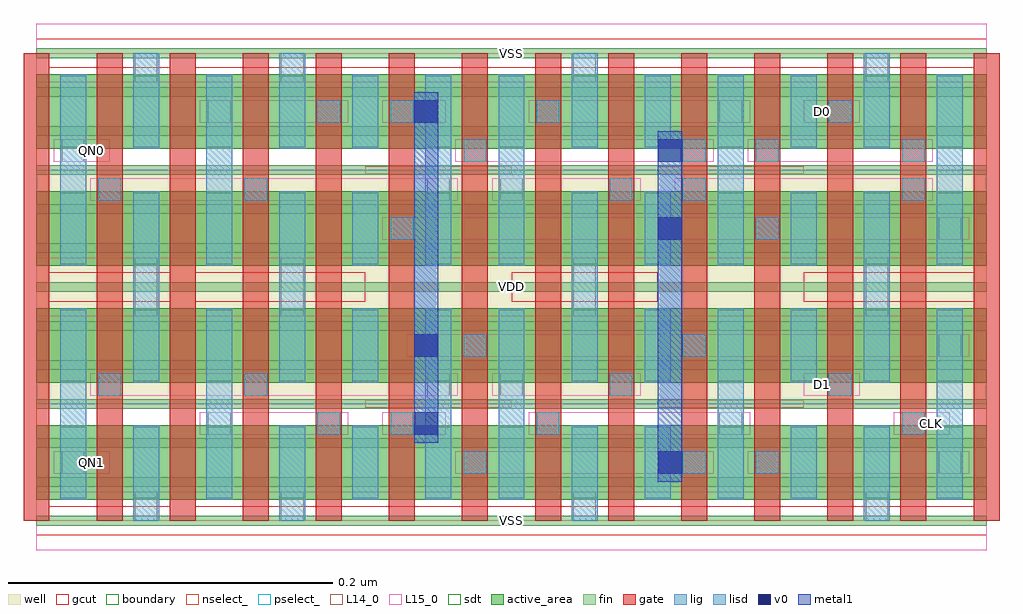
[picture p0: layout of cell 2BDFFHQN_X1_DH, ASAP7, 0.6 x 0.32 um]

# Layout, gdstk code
import gdstk
lib = gdstk.Library(unit=1e-6, precision=2.5e-10)
def R(c, l, rs):  # rectangles x0, y0, x1, y1
    for r in rs: c.add(gdstk.rectangle(r[:2], r[2:], *l))
def A(c, l, x, y, w, h, nx, ny, dx, dy):  # array of equal rectangles
    R(c, l, [(x+i*dx, y+j*dy, x+i*dx+w, y+j*dy+h) for i in range(nx) for j in range(ny)])
def P(c, l, *ps):  # polygons
    for p in ps: c.add(gdstk.Polygon(p, *l))
well = (1, 0)
fin = (2, 0)
gate = (7, 0)
gcut = (10, 0)
active_area = (11, 0)
nselect_ = (12, 0)
pselect_ = (13, 0)
L14_0 = (14, 0)
L15_0 = (15, 0)
lig = (16, 0)
lisd = (17, 0)
v0 = (18, 0)
metal1 = (19, 0)
sdt = (88, 0)
boundary = (100, 0)

c_2bdffhqn_x1_dh = lib.new_cell('2BDFFHQN_X1_DH')
R(c_2bdffhqn_x1_dh, well, [(0,0.072,0.585,0.144), (0,0.144,0.585,0.216)])
A(c_2bdffhqn_x1_dh, fin, 0, -0.003, 0.585, 0.006, 1, 13, 0, 0.024)
A(c_2bdffhqn_x1_dh, gate, -0.008, 0, 0.016, 0.288, 14, 1, 0.045, 0)
R(c_2bdffhqn_x1_dh, gcut, [(0.2025,0.0695,0.2925,0.0745), (0.3825,0.0695,0.4725,0.0745), (0.2925,0.135,0.3825,0.153), (0.2025,0.2135,0.2925,0.2185), (0.3825,0.2135,0.4725,0.2185)])
P(c_2bdffhqn_x1_dh, gcut, [(0.593,0.288),(0.585,0.288),(0.585,0.297),(0.577,0.297),(0.577,0.153),(0.4725,0.153),(0.4725,0.135),(0.577,0.135),(0.577,0.009),(0.098,0.009),(0.098,0.135),(0.2025,0.135),(0.2025,0.153),(0.098,0.153),(0.098,0.279),(0.577,0.279),(0.577,0.297),(0.082,0.297),(0.082,0.009),(0.008,0.009),(0.008,0.135),(0.082,0.135),(0.082,0.153),(0.008,0.153),(0.008,0.279),(0.082,0.279),(0.082,0.297),(0,0.297),(0,0.288),(-0.008,0.288),(-0.008,0),(0,0),(0,-0.009),(0.585,-0.009),(0.585,0),(0.593,0)])
A(c_2bdffhqn_x1_dh, active_area, 0, 0.013, 0.585, 0.046, 1, 4, 0, 0.072)
R(c_2bdffhqn_x1_dh, nselect_, [(0,0,0.585,0.072), (0,0.216,0.585,0.288)])
R(c_2bdffhqn_x1_dh, pselect_, [(0,0.072,0.585,0.144), (0,0.144,0.585,0.216)])
A(c_2bdffhqn_x1_dh, L14_0, 0.1505, 0, 0.014, 0.018, 3, 2, 0.18, 0.126)
A(c_2bdffhqn_x1_dh, L14_0, 0.5555, 0.029, 0.014, 0.014, 1, 3, 0, 0.072)
A(c_2bdffhqn_x1_dh, L14_0, 0.308, 0.053, 0.014, 0.014, 3, 1, 0.1125, 0)
A(c_2bdffhqn_x1_dh, L14_0, 0.1505, 0.144, 0.014, 0.018, 3, 2, 0.18, 0.126)
R(c_2bdffhqn_x1_dh, L14_0, [(0.0605,0,0.0745,0.018), (0.0155,0.029,0.0295,0.043), (0.263,0.029,0.277,0.043), (0.398,0.029,0.412,0.043), (0.443,0.029,0.457,0.043), (0.1055,0.053,0.1195,0.067), (0.173,0.053,0.187,0.067), (0.218,0.053,0.232,0.067), (0.038,0.077,0.052,0.091), (0.128,0.077,0.142,0.091), (0.2405,0.077,0.2545,0.091), (0.2855,0.077,0.2995,0.091), (0.353,0.077,0.367,0.091), (0.488,0.077,0.502,0.091), (0.263,0.101,0.277,0.115), (0.398,0.101,0.412,0.115), (0.0605,0.126,0.0745,0.144), (0.0605,0.144,0.0745,0.162), (0.218,0.173,0.232,0.187), (0.443,0.173,0.457,0.187), (0.038,0.197,0.052,0.211), (0.128,0.197,0.142,0.211), (0.2405,0.197,0.2545,0.211), (0.2855,0.197,0.2995,0.211), (0.353,0.197,0.367,0.211), (0.398,0.197,0.412,0.211), (0.533,0.197,0.547,0.211), (0.0155,0.221,0.0295,0.235), (0.263,0.221,0.277,0.235), (0.398,0.221,0.412,0.235), (0.443,0.221,0.457,0.235), (0.533,0.221,0.547,0.235), (0.1055,0.245,0.1195,0.259), (0.173,0.245,0.187,0.259), (0.218,0.245,0.232,0.259), (0.308,0.245,0.322,0.259), (0.4205,0.245,0.4345,0.259), (0.488,0.245,0.502,0.259), (0.0605,0.27,0.0745,0.288)])
A(c_2bdffhqn_x1_dh, L15_0, 0, -0.018, 0.585, 0.036, 1, 3, 0, 0.144)
R(c_2bdffhqn_x1_dh, L15_0, [(0.0105,0.029,0.045,0.043), (0.258,0.029,0.417,0.043), (0.438,0.029,0.5745,0.043), (0.1005,0.053,0.192,0.067), (0.213,0.053,0.252,0.067), (0.303,0.053,0.4395,0.067), (0.528,0.053,0.5625,0.067), (0.033,0.077,0.2595,0.091), (0.2805,0.077,0.372,0.091), (0.4725,0.077,0.507,0.091), (0.228,0.101,0.5745,0.115), (0.213,0.173,0.5745,0.187), (0.033,0.197,0.2595,0.211), (0.2805,0.197,0.372,0.211), (0.393,0.197,0.552,0.211), (0.0105,0.221,0.045,0.235), (0.258,0.221,0.417,0.235), (0.438,0.221,0.552,0.235), (0.1005,0.245,0.192,0.259), (0.213,0.245,0.252,0.259), (0.303,0.245,0.4395,0.259), (0.4725,0.245,0.507,0.259)])
R(c_2bdffhqn_x1_dh, lig, [(0.263,0.029,0.277,0.043), (0.398,0.029,0.412,0.043), (0.443,0.029,0.457,0.043), (0.173,0.053,0.187,0.067), (0.218,0.053,0.232,0.067), (0.308,0.053,0.322,0.067), (0.533,0.053,0.547,0.067), (0.038,0.077,0.052,0.091), (0.128,0.077,0.142,0.091), (0.353,0.077,0.367,0.091), (0.488,0.077,0.502,0.091), (0.263,0.101,0.277,0.115), (0.398,0.101,0.412,0.115), (0.218,0.173,0.232,0.187), (0.443,0.173,0.457,0.187), (0.038,0.197,0.052,0.211), (0.128,0.197,0.142,0.211), (0.353,0.197,0.367,0.211), (0.398,0.197,0.412,0.211), (0.533,0.197,0.547,0.211), (0.263,0.221,0.277,0.235), (0.398,0.221,0.412,0.235), (0.443,0.221,0.457,0.235), (0.533,0.221,0.547,0.235), (0.173,0.245,0.187,0.259), (0.218,0.245,0.232,0.259), (0.308,0.245,0.322,0.259), (0.488,0.245,0.502,0.259)])
A(c_2bdffhqn_x1_dh, lisd, 0.1495, 0, 0.016, 0.059, 3, 2, 0.18, 0.229)
A(c_2bdffhqn_x1_dh, lisd, 0.1945, 0.013, 0.016, 0.046, 1, 4, 0, 0.072)
A(c_2bdffhqn_x1_dh, lisd, 0.2845, 0.013, 0.016, 0.118, 3, 2, 0.135, 0.144)
A(c_2bdffhqn_x1_dh, lisd, 0.3745, 0.013, 0.016, 0.046, 1, 4, 0, 0.072)
A(c_2bdffhqn_x1_dh, lisd, 0.4645, 0.013, 0.016, 0.046, 1, 4, 0, 0.072)
A(c_2bdffhqn_x1_dh, lisd, 0.1495, 0.085, 0.016, 0.118, 3, 1, 0.18, 0)
R(c_2bdffhqn_x1_dh, lisd, [(0.0595,0,0.0755,0.059), (0.0145,0.013,0.0305,0.131), (0.1045,0.013,0.1205,0.131), (0.2395,0.013,0.2555,0.131), (0.0595,0.085,0.0755,0.203), (0.0145,0.157,0.0305,0.275), (0.1045,0.157,0.1205,0.275), (0.2395,0.157,0.2555,0.275), (0.0595,0.229,0.0755,0.288)])
R(c_2bdffhqn_x1_dh, v0, [(0.383,0.029,0.397,0.043), (0.233,0.053,0.247,0.067), (0.233,0.101,0.247,0.115), (0.383,0.173,0.397,0.187), (0.383,0.221,0.397,0.235), (0.233,0.245,0.247,0.259)])
R(c_2bdffhqn_x1_dh, metal1, [(0.3825,0.024,0.3975,0.24), (0.2325,0.048,0.2475,0.264)])
A(c_2bdffhqn_x1_dh, sdt, 0.0145, 0.014, 0.016, 0.044, 13, 4, 0.045, 0.072)
R(c_2bdffhqn_x1_dh, boundary, [(0,0,0.585,0.288)])
c_2bdffhqn_x1_dh.add(gdstk.Label('VSS', (0.2925,0.288), layer=15, texttype=251))
c_2bdffhqn_x1_dh.add(gdstk.Label('VDD', (0.2925,0.144), layer=15, texttype=251))
c_2bdffhqn_x1_dh.add(gdstk.Label('VDD', (0.2925,0.144), layer=15, texttype=251))
c_2bdffhqn_x1_dh.add(gdstk.Label('VSS', (0.2925,0), layer=15, texttype=251))
c_2bdffhqn_x1_dh.add(gdstk.Label('QN1', (0.0338,0.036), layer=15, texttype=251))
c_2bdffhqn_x1_dh.add(gdstk.Label('VSS', (0.2925,0.288), layer=15, texttype=251))
c_2bdffhqn_x1_dh.add(gdstk.Label('VDD', (0.2925,0.144), layer=15, texttype=251))
c_2bdffhqn_x1_dh.add(gdstk.Label('VDD', (0.2925,0.144), layer=15, texttype=251))
c_2bdffhqn_x1_dh.add(gdstk.Label('VSS', (0.2925,0), layer=15, texttype=251))
c_2bdffhqn_x1_dh.add(gdstk.Label('QN0', (0.0338,0.228), layer=15, texttype=251))
c_2bdffhqn_x1_dh.add(gdstk.Label('VSS', (0.2925,0.288), layer=15, texttype=251))
c_2bdffhqn_x1_dh.add(gdstk.Label('VDD', (0.2925,0.144), layer=15, texttype=251))
c_2bdffhqn_x1_dh.add(gdstk.Label('VDD', (0.2925,0.144), layer=15, texttype=251))
c_2bdffhqn_x1_dh.add(gdstk.Label('VSS', (0.2925,0), layer=15, texttype=251))
c_2bdffhqn_x1_dh.add(gdstk.Label('CLK', (0.5513,0.06), layer=15, texttype=251))
c_2bdffhqn_x1_dh.add(gdstk.Label('VSS', (0.2925,0.288), layer=15, texttype=251))
c_2bdffhqn_x1_dh.add(gdstk.Label('VDD', (0.2925,0.144), layer=15, texttype=251))
c_2bdffhqn_x1_dh.add(gdstk.Label('VDD', (0.2925,0.144), layer=15, texttype=251))
c_2bdffhqn_x1_dh.add(gdstk.Label('VSS', (0.2925,0), layer=15, texttype=251))
c_2bdffhqn_x1_dh.add(gdstk.Label('D1', (0.4838,0.084), layer=15, texttype=251))
c_2bdffhqn_x1_dh.add(gdstk.Label('VSS', (0.2925,0.288), layer=15, texttype=251))
c_2bdffhqn_x1_dh.add(gdstk.Label('VDD', (0.2925,0.144), layer=15, texttype=251))
c_2bdffhqn_x1_dh.add(gdstk.Label('VDD', (0.2925,0.144), layer=15, texttype=251))
c_2bdffhqn_x1_dh.add(gdstk.Label('VSS', (0.2925,0), layer=15, texttype=251))
c_2bdffhqn_x1_dh.add(gdstk.Label('D0', (0.4838,0.252), layer=15, texttype=251))
c_2bdffhqn_x1_dh.add(gdstk.Label('VSS', (0.2925,0.288), layer=3, texttype=251))
c_2bdffhqn_x1_dh.add(gdstk.Label('VSS', (0.2925,0), layer=3, texttype=251))
c_2bdffhqn_x1_dh.add(gdstk.Label('VSS', (0.2925,0.288), layer=3, texttype=251))
c_2bdffhqn_x1_dh.add(gdstk.Label('VSS', (0.2925,0), layer=3, texttype=251))
c_2bdffhqn_x1_dh.add(gdstk.Label('VSS', (0.2925,0.288), layer=3, texttype=251))
c_2bdffhqn_x1_dh.add(gdstk.Label('VSS', (0.2925,0), layer=3, texttype=251))
c_2bdffhqn_x1_dh.add(gdstk.Label('VSS', (0.2925,0.288), layer=3, texttype=251))
c_2bdffhqn_x1_dh.add(gdstk.Label('VSS', (0.2925,0), layer=3, texttype=251))
c_2bdffhqn_x1_dh.add(gdstk.Label('VSS', (0.2925,0.288), layer=3, texttype=251))
c_2bdffhqn_x1_dh.add(gdstk.Label('VSS', (0.2925,0), layer=3, texttype=251))
c_2bdffhqn_x1_dh.add(gdstk.Label('VDD', (0.2925,0.144), layer=1, texttype=251))
c_2bdffhqn_x1_dh.add(gdstk.Label('VDD', (0.2925,0.144), layer=1, texttype=251))
c_2bdffhqn_x1_dh.add(gdstk.Label('VDD', (0.2925,0.144), layer=1, texttype=251))
c_2bdffhqn_x1_dh.add(gdstk.Label('VDD', (0.2925,0.144), layer=1, texttype=251))
c_2bdffhqn_x1_dh.add(gdstk.Label('VDD', (0.2925,0.144), layer=1, texttype=251))
c_2bdffhqn_x1_dh.add(gdstk.Label('VDD', (0.2925,0.144), layer=1, texttype=251))
c_2bdffhqn_x1_dh.add(gdstk.Label('VDD', (0.2925,0.144), layer=1, texttype=251))
c_2bdffhqn_x1_dh.add(gdstk.Label('VDD', (0.2925,0.144), layer=1, texttype=251))
c_2bdffhqn_x1_dh.add(gdstk.Label('VDD', (0.2925,0.144), layer=1, texttype=251))
c_2bdffhqn_x1_dh.add(gdstk.Label('VDD', (0.2925,0.144), layer=1, texttype=251))

lib.write_gds('2BDFFHQN_X1_DH.gds')
